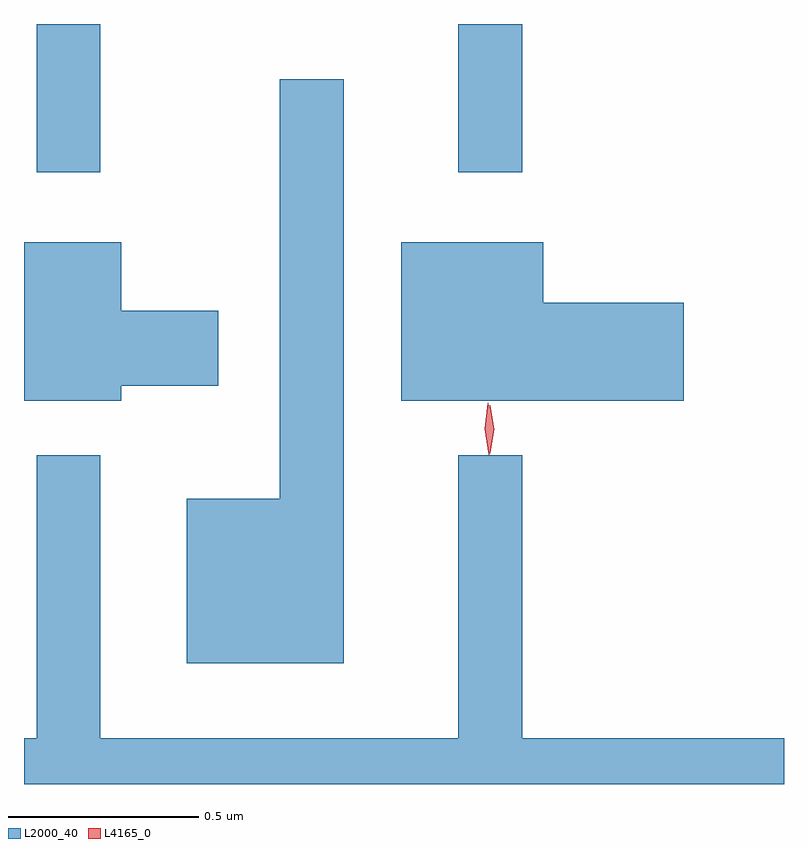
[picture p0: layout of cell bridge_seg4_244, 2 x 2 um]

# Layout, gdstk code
import gdstk
lib = gdstk.Library(unit=1e-6, precision=1e-09)
def R(c, l, rs):  # rectangles x0, y0, x1, y1
    for r in rs: c.add(gdstk.rectangle(r[:2], r[2:], *l))
def P(c, l, *ps):  # polygons
    for p in ps: c.add(gdstk.Polygon(p, *l))
L2000_40 = (2000, 40)
L4165_0 = (4165, 0)

bridge_seg4_244 = lib.new_cell('bridge_seg4_244')
R(bridge_seg4_244, L2000_40, [(729.941,1378.633,730.109,1379.023), (731.051,1378.633,731.219,1379.023)])
P(bridge_seg4_244, L2000_40, [(730.749,1378.878),(730.581,1378.878),(730.581,1377.774),(730.336,1377.774),(730.336,1377.341),(730.749,1377.341)],
  [(731.644,1378.289),(731.274,1378.289),(731.274,1378.449),(730.901,1378.449),(730.901,1378.031),(731.644,1378.031)],
  [(730.164,1378.071),(730.419,1378.071),(730.419,1378.269),(730.164,1378.269),(730.164,1378.449),(729.908,1378.449),(729.908,1378.031),(730.164,1378.031)],
  [(731.908,1377.144),(731.219,1377.144),(731.219,1377.888),(731.051,1377.888),(731.051,1377.144),(730.109,1377.144),(730.109,1377.888),(729.941,1377.888),(729.941,1377.144),(729.908,1377.144),(729.908,1377.023),(731.908,1377.023)])
P(bridge_seg4_244, L4165_0, [(731.131,1377.89),(731.131,1377.89),(731.121,1377.958),(731.129,1378.025),(731.13,1378.026),(731.13,1378.025),(731.14,1377.958),(731.132,1377.89)],
  [(731.135,1377.893),(731.134,1377.894),(731.125,1377.956),(731.134,1378.02),(731.134,1378.02),(731.135,1378.02),(731.145,1377.956),(731.135,1377.894)])

lib.write_gds('bridge_seg4_244.gds')
